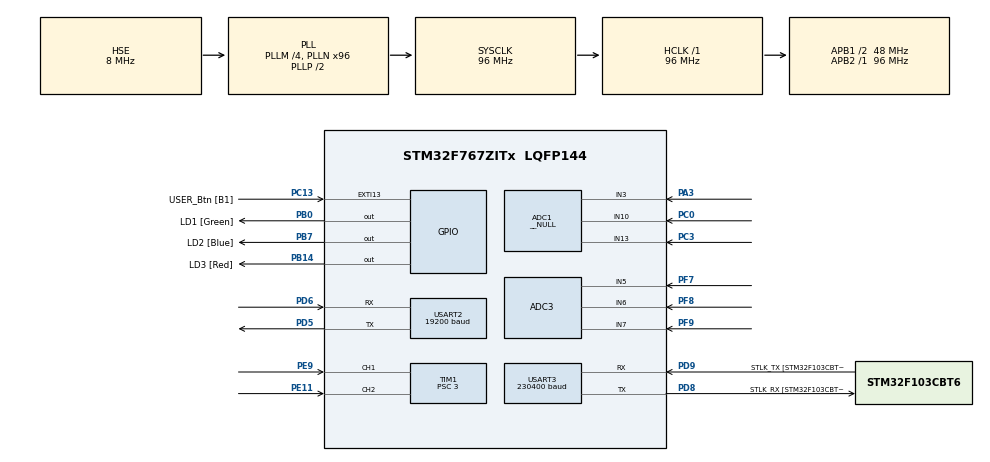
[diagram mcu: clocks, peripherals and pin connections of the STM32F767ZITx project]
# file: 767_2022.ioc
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ADC1.Channel-11\#ChannelRegularConversion=ADC_CHANNEL_3
ADC1.Channel-18\#ChannelRegularConversion=ADC_CHANNEL_10
ADC1.Channel-19\#ChannelRegularConversion=ADC_CHANNEL_13
ADC1.ContinuousConvMode=DISABLE
ADC1.DMAContinuousRequests=ENABLE
ADC1.DiscontinuousConvMode=ENABLE
ADC1.EOCSelection=ADC_EOC_SEQ_CONV
ADC1.Mode=__NULL
ADC1.NbrOfConversion=3
ADC1.NbrOfConversionFlag=1
ADC1.NbrOfDiscConversion=3
ADC1.Rank-11\#ChannelRegularConversion=1
ADC1.Rank-18\#ChannelRegularConversion=2
ADC1.Rank-19\#ChannelRegularConversion=3
ADC1.SamplingTime-11\#ChannelRegularConversion=ADC_SAMPLETIME_3CYCLES
ADC1.SamplingTime-18\#ChannelRegularConversion=ADC_SAMPLETIME_3CYCLES
ADC1.SamplingTime-19\#ChannelRegularConversion=ADC_SAMPLETIME_3CYCLES
ADC1.ScanConvMode=ADC_SCAN_ENABLE
ADC1.master=1
ADC3.Channel-4\#ChannelRegularConversion=ADC_CHANNEL_6
ADC3.Channel-7\#ChannelRegularConversion=ADC_CHANNEL_5
ADC3.Channel-8\#ChannelRegularConversion=ADC_CHANNEL_7
ADC3.DMAContinuousRequests=ENABLE
ADC3.DiscontinuousConvMode=ENABLE
ADC3.EOCSelection=ADC_EOC_SEQ_CONV
ADC3.NbrOfConversion=3
ADC3.NbrOfConversionFlag=1
ADC3.NbrOfDiscConversion=3
ADC3.Rank-4\#ChannelRegularConversion=1
ADC3.Rank-7\#ChannelRegularConversion=2
ADC3.Rank-8\#ChannelRegularConversion=3
ADC3.SamplingTime-4\#ChannelRegularConversion=ADC_SAMPLETIME_3CYCLES
ADC3.SamplingTime-7\#ChannelRegularConversion=ADC_SAMPLETIME_3CYCLES
ADC3.SamplingTime-8\#ChannelRegularConversion=ADC_SAMPLETIME_3CYCLES
ADC3.ScanConvMode=ADC_SCAN_ENABLE
Dma.ADC1.0.Direction=DMA_PERIPH_TO_MEMORY
Dma.ADC1.0.FIFOMode=DMA_FIFOMODE_DISABLE
Dma.ADC1.0.Instance=DMA2_Stream4
Dma.ADC1.0.MemDataAlignment=DMA_MDATAALIGN_HALFWORD
Dma.ADC1.0.MemInc=DMA_MINC_ENABLE
Dma.ADC1.0.Mode=DMA_CIRCULAR
Dma.ADC1.0.PeriphDataAlignment=DMA_PDATAALIGN_HALFWORD
Dma.ADC1.0.PeriphInc=DMA_PINC_DISABLE
Dma.ADC1.0.Priority=DMA_PRIORITY_LOW
Dma.ADC3.1.Direction=DMA_PERIPH_TO_MEMORY
Dma.ADC3.1.FIFOMode=DMA_FIFOMODE_DISABLE
Dma.ADC3.1.Instance=DMA2_Stream0
Dma.ADC3.1.MemDataAlignment=DMA_MDATAALIGN_HALFWORD
Dma.ADC3.1.MemInc=DMA_MINC_ENABLE
Dma.ADC3.1.Mode=DMA_NORMAL
Dma.ADC3.1.PeriphDataAlignment=DMA_PDATAALIGN_HALFWORD
Dma.ADC3.1.PeriphInc=DMA_PINC_DISABLE
Dma.ADC3.1.Priority=DMA_PRIORITY_LOW
Dma.Request0=ADC1
Dma.Request1=ADC3
Mcu.Family=STM32F7
Mcu.Name=STM32F767ZITx
Mcu.Package=LQFP144
NVIC.ADC_IRQn=true\:0\:0\:false\:false\:true\:true\:true\:true
NVIC.DMA2_Stream0_IRQn=true\:0\:0\:false\:false\:true\:false\:true\:true
NVIC.DMA2_Stream4_IRQn=true\:0\:0\:false\:false\:true\:false\:true\:true
NVIC.PriorityGroup=NVIC_PRIORITYGROUP_4
NVIC.TIM3_IRQn=true\:0\:0\:false\:false\:true\:true\:true\:true
NVIC.TIM4_IRQn=true\:0\:0\:false\:false\:true\:true\:true\:true
NVIC.USART2_IRQn=true\:0\:0\:false\:false\:true\:true\:true\:true
NVIC.USART3_IRQn=true\:0\:0\:false\:false\:true\:true\:true\:true
PA13.GPIO_Label=TMS
PA13.Mode=Serial_Wire
PA13.Signal=SYS_JTMS-SWDIO
PA14.GPIO_Label=TCK
PA14.Mode=Serial_Wire
PA14.Signal=SYS_JTCK-SWCLK
PA3.Signal=ADCx_IN3
PB0.GPIO_Label=LD1 [Green]
PB0.Signal=GPIO_Output
PB14.GPIO_Label=LD3 [Red]
PB14.Signal=GPIO_Output
PB3.GPIO_Label=SWO
PB3.Signal=SYS_JTDO-SWO
PB7.GPIO_Label=LD2 [Blue]
PB7.Signal=GPIO_Output
PC0.Signal=ADCx_IN10
PC13.GPIO_Label=USER_Btn [B1]
PC13.Signal=GPXTI13
PC14/OSC32_IN.Mode=LSE-External-Oscillator
PC14/OSC32_IN.Signal=RCC_OSC32_IN
PC15/OSC32_OUT.Mode=LSE-External-Oscillator
PC15/OSC32_OUT.Signal=RCC_OSC32_OUT
PC3.Signal=ADCx_IN13
PD5.Mode=Asynchronous
PD5.Signal=USART2_TX
PD6.Mode=Asynchronous
PD6.Signal=USART2_RX
PD8.GPIO_Label=STLK_RX [STM32F103CBT6_PA3]
PD8.Mode=Asynchronous
PD8.Signal=USART3_TX
PD9.GPIO_Label=STLK_TX [STM32F103CBT6_PA2]
PD9.Mode=Asynchronous
PD9.Signal=USART3_RX
PE11.Signal=S_TIM1_CH2
PE9.Signal=S_TIM1_CH1
PF7.Mode=IN5
PF7.Signal=ADC3_IN5
PF8.Mode=IN6
PF8.Signal=ADC3_IN6
PF9.Mode=IN7
PF9.Signal=ADC3_IN7
PH0/OSC_IN.GPIO_Label=MCO [STM32F103CBT6_PA8]
PH0/OSC_IN.Mode=HSE-External-Clock-Source
PH0/OSC_IN.Signal=RCC_OSC_IN
PH1/OSC_OUT.Mode=HSE-External-Clock-Source
PH1/OSC_OUT.Signal=RCC_OSC_OUT
ProjectManager.HeapSize=0x200
ProjectManager.StackSize=0x400
ProjectManager.TargetToolchain=STM32CubeIDE
RCC.48MHZClocksFreq_Value=24000000
RCC.AHBFreq_Value=96000000
RCC.APB1CLKDivider=RCC_HCLK_DIV2
RCC.APB1Freq_Value=48000000
RCC.APB1TimFreq_Value=96000000
RCC.APB2Freq_Value=96000000
RCC.APB2TimFreq_Value=96000000
RCC.CortexFreq_Value=96000000
RCC.HCLKFreq_Value=96000000
RCC.HSE_VALUE=8000000
RCC.HSI_VALUE=16000000
RCC.PLLM=4
RCC.PLLMUL=RCC_PLL_MUL9
RCC.PLLN=96
RCC.PLLQ=4
RCC.PLLSourceVirtual=RCC_PLLSOURCE_HSE
RCC.PRESCALERUSB=RCC_USBCLKSOURCE_PLL_DIV1_5
RCC.SYSCLKFreq_VALUE=96000000
RCC.SYSCLKSource=RCC_SYSCLKSOURCE_PLLCLK
RCC.SYSCLKSourceVirtual=RCC_SYSCLKSOURCE_PLLCLK
RCC.USBFreq_Value=48000000
RCC.VCOOutputFreq_Value=192000000
SH.ADCx_IN10.0=ADC1_IN10,IN10
SH.ADCx_IN13.0=ADC1_IN13,IN13
SH.ADCx_IN3.0=ADC1_IN3,IN3
SH.S_TIM1_CH1.0=TIM1_CH1,Encoder_Interface
SH.S_TIM1_CH2.0=TIM1_CH2,Encoder_Interface
TIM1.EncoderMode=TIM_ENCODERMODE_TI12
TIM1.Period=12500
TIM1.Prescaler=3
TIM3.Period=500
TIM3.Prescaler=9600-1
TIM4.Period=1000
TIM4.Prescaler=960-1
USART2.BaudRate=19200
USART2.VirtualMode-Asynchronous=VM_ASYNC
USART3.BaudRate=230400
USART3.VirtualMode-Asynchronous=VM_ASYNC
VP_TIM3_VS_ClockSourceINT.Mode=Internal
VP_TIM4_VS_ClockSourceINT.Mode=Internal
board=NUCLEO-F767ZI

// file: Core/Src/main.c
/* USER CODE BEGIN Header */
/**
  ******************************************************************************
  * @file           : main.c
  * @brief          : Main program body
  ******************************************************************************
  * @attention
  *
  * Copyright (c) 2022 STMicroelectronics.
  * All rights reserved.
  *
  * This software is licensed under terms that can be found in the LICENSE file
  * in the root directory of this software component.
  * If no LICENSE file comes with this software, it is provided AS-IS.
  *
  ******************************************************************************
  */
/* USER CODE END Header */
#include "main.h"

/* USER CODE BEGIN PD */
#define ADC_BUFF_SIZE 2000
#define _acc1 0
#define _acc2 400
#define _gps 800
#define _enc 960

/* USER CODE END PD */

 ADC_HandleTypeDef hadc1;
ADC_HandleTypeDef hadc3;
DMA_HandleTypeDef hdma_adc1;
DMA_HandleTypeDef hdma_adc3;

TIM_HandleTypeDef htim1;
TIM_HandleTypeDef htim3;
TIM_HandleTypeDef htim4;

UART_HandleTypeDef huart2;
UART_HandleTypeDef huart3;

/* USER CODE BEGIN PV */
//ARRAY DE DATOS - GENERALES
uint8_t MATRIZ[2000];
uint16_t ACC1[400], ACC2[400];				//Se requiere solo 200 datos para 1ksps
uint8_t  GPRMC[160], GPGGA[160];			//Se requiere solo 80Bytes por cada mensaje
uint16_t ENCODER[40];						//Se requiere solo 20 datos para 1ksps
uint16_t DMA_ADC[6];
uint8_t TGPS[2];
uint8_t state_int, cnt1;

char rmc[] = "$GPRMC";
char gga[] = "$GPGGA";

//PUNTEROS GENERALES
volatile uint16_t *ACC1_, *ACC2_;
volatile uint8_t *GPS_, *GPRMC_, *GPGGA_;
volatile uint16_t *ENCODER_;
volatile uint8_t flg=0;

//CONTADORES Y FLGS
uint8_t _ACC1, _ACC2, _ENCODER, _GPS, _GPRMC, _GPGGA;
uint8_t FACC1, FACC2, FENC, FGPS, FRMC, FGGA;

/* USER CODE END PV */

void SystemClock_Config(void);
static void MX_GPIO_Init(void);
static void MX_USART3_UART_Init(void);
static void MX_TIM1_Init(void);
static void MX_TIM3_Init(void);
static void MX_TIM4_Init(void);
static void MX_USART2_UART_Init(void);
static void MX_DMA_Init(void);
static void MX_ADC1_Init(void);
static void MX_ADC3_Init(void);
/* USER CODE BEGIN PFP */
uint16_t raiz(uint32_t vector);
/* USER CODE END PFP */

int main(void)
{

  /* MCU Configuration--------------------------------------------------------*/

  /* Reset of all peripherals, Initializes the Flash interface and the Systick. */
  HAL_Init();

  /* Configure the system clock */
  SystemClock_Config();

  /* Initialize all configured peripherals */
  MX_GPIO_Init();
  MX_USART3_UART_Init();
  MX_TIM1_Init();
  MX_TIM3_Init();
  MX_TIM4_Init();
  MX_USART2_UART_Init();
  MX_DMA_Init();
  MX_ADC1_Init();
  MX_ADC3_Init();
  /* USER CODE BEGIN 2 */
  uint8_t mensaje1[] = "Error conversion ADC1 DMA\r\n";

  //HAL_TIM_Base_Start_IT(&htim2);							//Contador de tiempo para ejecucion
  HAL_TIM_Base_Start_IT(&htim3);							//Temporizador
  HAL_TIM_Base_Start_IT(&htim4);							//Temporizador
  HAL_TIM_Encoder_Start(&htim1, TIM_CHANNEL_ALL);			//Contador Encoder
  HAL_UART_Receive_IT(&huart2, (uint8_t*)TGPS, 1);

  _ACC1 = 0;
  _ACC2 = 0;
  _ENCODER = 0;

//  if (HAL_OK != HAL_ADC_Start_DMA(&hadc3, (uint16_t*)&ADC_buffer+8, 3))

  /* USER CODE END 2 */

  /* Infinite loop */
  while (1)
  {

    /* USER CODE BEGIN 3 */
 // CDC_Transmit_FS((char*)datos, sizeof(datos)-1);
 // CDC_Transmit_FS((char*)mensaje, sizeof(mensaje)-1);
	HAL_Delay(200);
	HAL_GPIO_TogglePin(GPIOB, LD1_Pin);
	HAL_ADC_Start_DMA(&hadc1, DMA_ADC, 3);
	HAL_ADC_Start_DMA(&hadc3, DMA_ADC+3, 3);

  switch (state_int)
  {
  case 10:
	  if (flg ==1){
		  //HAL_UART_Transmit_IT(&huart3, (uint8_t*)GPRMC, 75);
			asm("NOP");
			asm("NOP");
			asm("NOP");
			asm("NOP");
	  } else {
		  //HAL_UART_Transmit_IT(&huart3, (uint8_t*)GPGGA, 73);
			asm("NOP");
			asm("NOP");
			asm("NOP");
			asm("NOP");
	  }

	  state_int = 0;
	  break;
  case 20:
	  break;
  case 30:
	  break;
  case 40:
	  break;
  default:
	  break;
  }

  //HAL_ADC_Start_DMA(&hadc1, ADC_buffer, 3);
  //HAL_Delay(1);
  //HAL_ADC_Start_DMA(&hadc3, ADC_buffer+8, 3);
  }

  /* USER CODE END 3 */
}

void SystemClock_Config(void)
{
  RCC_OscInitTypeDef RCC_OscInitStruct = {0};
  RCC_ClkInitTypeDef RCC_ClkInitStruct = {0};

  /** Configure LSE Drive Capability
  */
  HAL_PWR_EnableBkUpAccess();

  /** Configure the main internal regulator output voltage
  */
  __HAL_RCC_PWR_CLK_ENABLE();
  __HAL_PWR_VOLTAGESCALING_CONFIG(PWR_REGULATOR_VOLTAGE_SCALE3);

  /** Initializes the RCC Oscillators according to the specified parameters
  * in the RCC_OscInitTypeDef structure.
  */
  RCC_OscInitStruct.OscillatorType = RCC_OSCILLATORTYPE_HSE;
  RCC_OscInitStruct.HSEState = RCC_HSE_BYPASS;
  RCC_OscInitStruct.PLL.PLLState = RCC_PLL_ON;
  RCC_OscInitStruct.PLL.PLLSource = RCC_PLLSOURCE_HSE;
  RCC_OscInitStruct.PLL.PLLM = 4;
  RCC_OscInitStruct.PLL.PLLN = 96;
  RCC_OscInitStruct.PLL.PLLP = RCC_PLLP_DIV2;
  RCC_OscInitStruct.PLL.PLLQ = 4;
  RCC_OscInitStruct.PLL.PLLR = 2;
  if (HAL_RCC_OscConfig(&RCC_OscInitStruct) != HAL_OK)
  {
    Error_Handler();
  }

  /** Activate the Over-Drive mode
  */
  if (HAL_PWREx_EnableOverDrive() != HAL_OK)
  {
    Error_Handler();
  }

  /** Initializes the CPU, AHB and APB buses clocks
  */
  RCC_ClkInitStruct.ClockType = RCC_CLOCKTYPE_HCLK|RCC_CLOCKTYPE_SYSCLK
                              |RCC_CLOCKTYPE_PCLK1|RCC_CLOCKTYPE_PCLK2;
  RCC_ClkInitStruct.SYSCLKSource = RCC_SYSCLKSOURCE_PLLCLK;
  RCC_ClkInitStruct.AHBCLKDivider = RCC_SYSCLK_DIV1;
  RCC_ClkInitStruct.APB1CLKDivider = RCC_HCLK_DIV2;
  RCC_ClkInitStruct.APB2CLKDivider = RCC_HCLK_DIV1;

  if (HAL_RCC_ClockConfig(&RCC_ClkInitStruct, FLASH_LATENCY_3) != HAL_OK)
  {
    Error_Handler();
  }
}

static void MX_ADC1_Init(void)
{

  ADC_ChannelConfTypeDef sConfig = {0};

  /** Configure the global features of the ADC (Clock, Resolution, Data Alignment and number of conversion)
  */
  hadc1.Instance = ADC1;
  hadc1.Init.ClockPrescaler = ADC_CLOCK_SYNC_PCLK_DIV4;
  hadc1.Init.Resolution = ADC_RESOLUTION_12B;
  hadc1.Init.ScanConvMode = ADC_SCAN_ENABLE;
  hadc1.Init.ContinuousConvMode = DISABLE;
  hadc1.Init.DiscontinuousConvMode = ENABLE;
  hadc1.Init.NbrOfDiscConversion = 3;
  hadc1.Init.ExternalTrigConvEdge = ADC_EXTERNALTRIGCONVEDGE_NONE;
  hadc1.Init.ExternalTrigConv = ADC_SOFTWARE_START;
  hadc1.Init.DataAlign = ADC_DATAALIGN_RIGHT;
  hadc1.Init.NbrOfConversion = 3;
  hadc1.Init.DMAContinuousRequests = ENABLE;
  hadc1.Init.EOCSelection = ADC_EOC_SEQ_CONV;
  if (HAL_ADC_Init(&hadc1) != HAL_OK)
  {
    Error_Handler();
  }

  /** Configure for the selected ADC regular channel its corresponding rank in the sequencer and its sample time.
  */
  sConfig.Channel = ADC_CHANNEL_3;
  sConfig.Rank = ADC_REGULAR_RANK_1;
  sConfig.SamplingTime = ADC_SAMPLETIME_3CYCLES;
  if (HAL_ADC_ConfigChannel(&hadc1, &sConfig) != HAL_OK)
  {
    Error_Handler();
  }

  /** Configure for the selected ADC regular channel its corresponding rank in the sequencer and its sample time.
  */
  sConfig.Channel = ADC_CHANNEL_10;
  sConfig.Rank = ADC_REGULAR_RANK_2;
  if (HAL_ADC_ConfigChannel(&hadc1, &sConfig) != HAL_OK)
  {
    Error_Handler();
  }

  /** Configure for the selected ADC regular channel its corresponding rank in the sequencer and its sample time.
  */
  sConfig.Channel = ADC_CHANNEL_13;
  sConfig.Rank = ADC_REGULAR_RANK_3;
  if (HAL_ADC_ConfigChannel(&hadc1, &sConfig) != HAL_OK)
  {
    Error_Handler();
  }

}

static void MX_ADC3_Init(void)
{

  ADC_ChannelConfTypeDef sConfig = {0};

  /** Configure the global features of the ADC (Clock, Resolution, Data Alignment and number of conversion)
  */
  hadc3.Instance = ADC3;
  hadc3.Init.ClockPrescaler = ADC_CLOCK_SYNC_PCLK_DIV4;
  hadc3.Init.Resolution = ADC_RESOLUTION_12B;
  hadc3.Init.ScanConvMode = ADC_SCAN_ENABLE;
  hadc3.Init.ContinuousConvMode = DISABLE;
  hadc3.Init.DiscontinuousConvMode = ENABLE;
  hadc3.Init.NbrOfDiscConversion = 3;
  hadc3.Init.ExternalTrigConvEdge = ADC_EXTERNALTRIGCONVEDGE_NONE;
  hadc3.Init.ExternalTrigConv = ADC_SOFTWARE_START;
  hadc3.Init.DataAlign = ADC_DATAALIGN_RIGHT;
  hadc3.Init.NbrOfConversion = 3;
  hadc3.Init.DMAContinuousRequests = ENABLE;
  hadc3.Init.EOCSelection = ADC_EOC_SEQ_CONV;
  if (HAL_ADC_Init(&hadc3) != HAL_OK)
  {
    Error_Handler();
  }

  /** Configure for the selected ADC regular channel its corresponding rank in the sequencer and its sample time.
  */
  sConfig.Channel = ADC_CHANNEL_6;
  sConfig.Rank = ADC_REGULAR_RANK_1;
  sConfig.SamplingTime = ADC_SAMPLETIME_3CYCLES;
  if (HAL_ADC_ConfigChannel(&hadc3, &sConfig) != HAL_OK)
  {
    Error_Handler();
  }

  /** Configure for the selected ADC regular channel its corresponding rank in the sequencer and its sample time.
  */
  sConfig.Channel = ADC_CHANNEL_5;
  sConfig.Rank = ADC_REGULAR_RANK_2;
  if (HAL_ADC_ConfigChannel(&hadc3, &sConfig) != HAL_OK)
  {
    Error_Handler();
  }

  /** Configure for the selected ADC regular channel its corresponding rank in the sequencer and its sample time.
  */
  sConfig.Channel = ADC_CHANNEL_7;
  sConfig.Rank = ADC_REGULAR_RANK_3;
  if (HAL_ADC_ConfigChannel(&hadc3, &sConfig) != HAL_OK)
  {
    Error_Handler();
  }

}

static void MX_TIM1_Init(void)
{

  TIM_Encoder_InitTypeDef sConfig = {0};
  TIM_MasterConfigTypeDef sMasterConfig = {0};

  htim1.Instance = TIM1;
  htim1.Init.Prescaler = 3;
  htim1.Init.CounterMode = TIM_COUNTERMODE_UP;
  htim1.Init.Period = 12500;
  htim1.Init.ClockDivision = TIM_CLOCKDIVISION_DIV1;
  htim1.Init.RepetitionCounter = 0;
  htim1.Init.AutoReloadPreload = TIM_AUTORELOAD_PRELOAD_DISABLE;
  sConfig.EncoderMode = TIM_ENCODERMODE_TI12;
  sConfig.IC1Polarity = TIM_ICPOLARITY_RISING;
  sConfig.IC1Selection = TIM_ICSELECTION_DIRECTTI;
  sConfig.IC1Prescaler = TIM_ICPSC_DIV1;
  sConfig.IC1Filter = 0;
  sConfig.IC2Polarity = TIM_ICPOLARITY_RISING;
  sConfig.IC2Selection = TIM_ICSELECTION_DIRECTTI;
  sConfig.IC2Prescaler = TIM_ICPSC_DIV1;
  sConfig.IC2Filter = 0;
  if (HAL_TIM_Encoder_Init(&htim1, &sConfig) != HAL_OK)
  {
    Error_Handler();
  }
  sMasterConfig.MasterOutputTrigger = TIM_TRGO_RESET;
  sMasterConfig.MasterOutputTrigger2 = TIM_TRGO2_RESET;
  sMasterConfig.MasterSlaveMode = TIM_MASTERSLAVEMODE_DISABLE;
  if (HAL_TIMEx_MasterConfigSynchronization(&htim1, &sMasterConfig) != HAL_OK)
  {
    Error_Handler();
  }

}

static void MX_TIM3_Init(void)
{

  TIM_ClockConfigTypeDef sClockSourceConfig = {0};
  TIM_MasterConfigTypeDef sMasterConfig = {0};

  htim3.Instance = TIM3;
  htim3.Init.Prescaler = 9600-1;
  htim3.Init.CounterMode = TIM_COUNTERMODE_UP;
  htim3.Init.Period = 500;
  htim3.Init.ClockDivision = TIM_CLOCKDIVISION_DIV1;
  htim3.Init.AutoReloadPreload = TIM_AUTORELOAD_PRELOAD_DISABLE;
  if (HAL_TIM_Base_Init(&htim3) != HAL_OK)
  {
    Error_Handler();
  }
  sClockSourceConfig.ClockSource = TIM_CLOCKSOURCE_INTERNAL;
  if (HAL_TIM_ConfigClockSource(&htim3, &sClockSourceConfig) != HAL_OK)
  {
    Error_Handler();
  }
  sMasterConfig.MasterOutputTrigger = TIM_TRGO_RESET;
  sMasterConfig.MasterSlaveMode = TIM_MASTERSLAVEMODE_DISABLE;
  if (HAL_TIMEx_MasterConfigSynchronization(&htim3, &sMasterConfig) != HAL_OK)
  {
    Error_Handler();
  }

}

static void MX_TIM4_Init(void)
{

  TIM_ClockConfigTypeDef sClockSourceConfig = {0};
  TIM_MasterConfigTypeDef sMasterConfig = {0};

  htim4.Instance = TIM4;
  htim4.Init.Prescaler = 960-1;
  htim4.Init.CounterMode = TIM_COUNTERMODE_UP;
  htim4.Init.Period = 1000;
  htim4.Init.ClockDivision = TIM_CLOCKDIVISION_DIV1;
  htim4.Init.AutoReloadPreload = TIM_AUTORELOAD_PRELOAD_DISABLE;
  if (HAL_TIM_Base_Init(&htim4) != HAL_OK)
  {
    Error_Handler();
  }
  sClockSourceConfig.ClockSource = TIM_CLOCKSOURCE_INTERNAL;
  if (HAL_TIM_ConfigClockSource(&htim4, &sClockSourceConfig) != HAL_OK)
  {
    Error_Handler();
  }
  sMasterConfig.MasterOutputTrigger = TIM_TRGO_RESET;
  sMasterConfig.MasterSlaveMode = TIM_MASTERSLAVEMODE_DISABLE;
  if (HAL_TIMEx_MasterConfigSynchronization(&htim4, &sMasterConfig) != HAL_OK)
  {
    Error_Handler();
  }
  /* USER CODE BEGIN TIM4_Init 2 */
  //configurado a 10 ms, temporizador para Encoder
  /* USER CODE END TIM4_Init 2 */

}

static void MX_USART2_UART_Init(void)
{

  huart2.Instance = USART2;
  huart2.Init.BaudRate = 19200;
  huart2.Init.WordLength = UART_WORDLENGTH_8B;
  huart2.Init.StopBits = UART_STOPBITS_1;
  huart2.Init.Parity = UART_PARITY_NONE;
  huart2.Init.Mode = UART_MODE_TX_RX;
  huart2.Init.HwFlowCtl = UART_HWCONTROL_NONE;
  huart2.Init.OverSampling = UART_OVERSAMPLING_16;
  huart2.Init.OneBitSampling = UART_ONE_BIT_SAMPLE_DISABLE;
  huart2.AdvancedInit.AdvFeatureInit = UART_ADVFEATURE_NO_INIT;
  if (HAL_UART_Init(&huart2) != HAL_OK)
  {
    Error_Handler();
  }

}

static void MX_USART3_UART_Init(void)
{

  huart3.Instance = USART3;
  huart3.Init.BaudRate = 230400;
  huart3.Init.WordLength = UART_WORDLENGTH_8B;
  huart3.Init.StopBits = UART_STOPBITS_1;
  huart3.Init.Parity = UART_PARITY_NONE;
  huart3.Init.Mode = UART_MODE_TX_RX;
  huart3.Init.HwFlowCtl = UART_HWCONTROL_NONE;
  huart3.Init.OverSampling = UART_OVERSAMPLING_16;
  huart3.Init.OneBitSampling = UART_ONE_BIT_SAMPLE_DISABLE;
  huart3.AdvancedInit.AdvFeatureInit = UART_ADVFEATURE_NO_INIT;
  if (HAL_UART_Init(&huart3) != HAL_OK)
  {
    Error_Handler();
  }

}

static void MX_DMA_Init(void)
{

  /* DMA controller clock enable */
  __HAL_RCC_DMA2_CLK_ENABLE();

  /* DMA interrupt init */
  /* DMA2_Stream0_IRQn interrupt configuration */
  HAL_NVIC_SetPriority(DMA2_Stream0_IRQn, 0, 0);
  HAL_NVIC_EnableIRQ(DMA2_Stream0_IRQn);
  /* DMA2_Stream4_IRQn interrupt configuration */
  HAL_NVIC_SetPriority(DMA2_Stream4_IRQn, 0, 0);
  HAL_NVIC_EnableIRQ(DMA2_Stream4_IRQn);

}

static void MX_GPIO_Init(void)
{
  GPIO_InitTypeDef GPIO_InitStruct = {0};

  /* GPIO Ports Clock Enable */
  __HAL_RCC_GPIOC_CLK_ENABLE();
  __HAL_RCC_GPIOF_CLK_ENABLE();
  __HAL_RCC_GPIOH_CLK_ENABLE();
  __HAL_RCC_GPIOA_CLK_ENABLE();
  __HAL_RCC_GPIOB_CLK_ENABLE();
  __HAL_RCC_GPIOE_CLK_ENABLE();
  __HAL_RCC_GPIOD_CLK_ENABLE();

  /*Configure GPIO pin Output Level */
  HAL_GPIO_WritePin(GPIOB, LD1_Pin|LD3_Pin|LD2_Pin, GPIO_PIN_RESET);

  /*Configure GPIO pin : USER_Btn_Pin */
  GPIO_InitStruct.Pin = USER_Btn_Pin;
  GPIO_InitStruct.Mode = GPIO_MODE_IT_RISING;
  GPIO_InitStruct.Pull = GPIO_NOPULL;
  HAL_GPIO_Init(USER_Btn_GPIO_Port, &GPIO_InitStruct);

  /*Configure GPIO pins : LD1_Pin LD3_Pin LD2_Pin */
  GPIO_InitStruct.Pin = LD1_Pin|LD3_Pin|LD2_Pin;
  GPIO_InitStruct.Mode = GPIO_MODE_OUTPUT_PP;
  GPIO_InitStruct.Pull = GPIO_NOPULL;
  GPIO_InitStruct.Speed = GPIO_SPEED_FREQ_LOW;
  HAL_GPIO_Init(GPIOB, &GPIO_InitStruct);

}

/* USER CODE BEGIN 4 */
void HAL_TIM_PeriodElapsedCallback(TIM_HandleTypeDef *htim)
{
	static uint16_t res;
	char valor[40];
	if (htim->Instance == TIM3)
		{
		asm("NOP");
		asm("NOP");
		asm("NOP");
		asm("NOP");
	    }

	if (htim->Instance == TIM4)
		{
		//HAL_GPIO_TogglePin(GPIOB, LD3_Pin);
		*(ENCODER_) = TIM1->CNT;					//Colocar *(enc_++) para leer e incrementar puntero

		res = sprintf(valor, "%hu\t%hu  \r\n", *ENCODER_, ENCODER_);
		ENCODER_++;
		//HAL_UART_Transmit_IT(&huart3, (uint8_t*)valor, res);
		if (ENCODER_ == &ENCODER[40]){
			ENCODER_ = &ENCODER[0];
		}
		}
}

void HAL_UART_RxCpltCallback(UART_HandleTypeDef *huart)
{
 /* Prevent unused argument(s) compilation warning */
	if (huart->Instance == USART2)
	{
		if (TGPS[0] == '$'){
			flg = !flg;
			cnt1=0;
			if (flg == 1){
				GPS_ = &GPRMC[0];}
			else {
				GPS_ = &GPGGA[0];}
		}

		*(GPS_++) = TGPS[0];
		cnt1++;

		if (TGPS[0] == '\n'){
			state_int = 10;
			}

		HAL_UART_Receive_IT(&huart2, (uint8_t*)TGPS, 1);
	}

}

void HAL_ADC_ConvCpltCallback(ADC_HandleTypeDef* hadc)
{
  /* Prevent unused argument(s) compilation warning */
volatile uint8_t num;
char parte[60];
uint16_t datas[2];
uint32_t potencia[2];
  if (hadc->Instance == ADC1)
  {
	  potencia[0] = (DMA_ADC[0]*DMA_ADC[0] + DMA_ADC[1]*DMA_ADC[1] + DMA_ADC[2]*DMA_ADC[2]);
	  datas[0] = raiz(potencia[0]);

  } else if (hadc->Instance == ADC3)
  {
	  potencia[1] = (DMA_ADC[3]*DMA_ADC[3] + DMA_ADC[4]*DMA_ADC[4] + DMA_ADC[5]*DMA_ADC[5]);
	  datas[1] = raiz(potencia[1]);

	  num = sprintf(parte, "A0:%hu A1:%hu A2:%hu r1=%u r3:%u p:%u\r\n", DMA_ADC[0], DMA_ADC[1], DMA_ADC[2], datas[0], datas[1]);
	  HAL_UART_Transmit_IT(&huart3, (uint8_t*)parte, num);
  }

  /* NOTE : This function Should not be modified, when the callback is needed,
            the HAL_ADC_ConvCpltCallback could be implemented in the user file
   */
}

uint16_t raiz(uint32_t vector)
{
	uint32_t r, t;
	r = vector;
	t = 0;
	while (t != r)
	{
		t = r;
		r = (vector/r + r)/2;
	}
	return r;
}
/* USER CODE END 4 */

void Error_Handler(void)
{
  __disable_irq();
  while (1)
  {
  }
}
